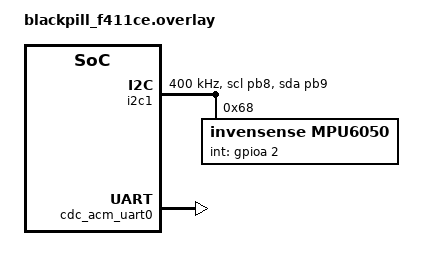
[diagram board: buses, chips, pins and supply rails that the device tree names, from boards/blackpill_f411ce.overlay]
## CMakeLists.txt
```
cmake_minimum_required(VERSION 3.20.0)

find_package(Zephyr REQUIRED HINTS $ENV{ZEPHYR_BASE})
project(edge_ai_gesture)

target_sources(app PRIVATE
	src/main.c
	src/imu.c
	src/capture.c
	src/dfu_boot.c
	model/inference.cc
)

# model_data.h sits at the application root, inference.h in model/
target_include_directories(app PRIVATE
	${CMAKE_SOURCE_DIR}
	${CMAKE_SOURCE_DIR}/model
)
```

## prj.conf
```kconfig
# Sensor stack: MPU6050 over I2C1, data-ready interrupt on PA1
CONFIG_SENSOR=y
CONFIG_MPU6050=y
CONFIG_MPU6050_ACCEL_FS=4
CONFIG_MPU6050_GYRO_FS=1000
CONFIG_MPU6050_TRIGGER_GLOBAL_THREAD=y

# GPIO for KEY button (PA0) and user LED (PC13)
CONFIG_GPIO=y

# FPU for float signal processing
CONFIG_FPU=y

CONFIG_NEWLIB_LIBC=y

# CONFIG_CPP is required by TFLM in phase 3, the cross toolchain g++ is
# now installed (arm-none-eabi-gcc-cs-c++)
CONFIG_CPP=y
CONFIG_STD_CPP17=y
CONFIG_TENSORFLOW_LITE_MICRO=y

# Console over USB CDC ACM for CSV telemetry (/dev/ttyACM0)
CONFIG_CONSOLE=y
CONFIG_PRINTK=y
CONFIG_CBPRINTF_FP_SUPPORT=y
CONFIG_USB_DEVICE_STACK=y
CONFIG_USB_CDC_ACM=y
# start the USB device stack before main, so the host can enumerate CDC
CONFIG_USB_DEVICE_INITIALIZE_AT_BOOT=y

# 10 kHz tick for fine timing granularity (cooldown, debounce)
CONFIG_SYS_CLOCK_TICKS_PER_SEC=10000

CONFIG_MAIN_STACK_SIZE=4096

# Enable or disable SIMD
CONFIG_TENSORFLOW_LITE_MICRO_CMSIS_NN_KERNELS=y
```

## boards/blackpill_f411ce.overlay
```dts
/*
 * Board DTS already routes I2C1 on PB8/PB9, USART1 on PA9/PA10,
 * user LED on PC13 (led0) and KEY button on PA0 (sw0).
 * Declared here: the MPU6050 on I2C1 and the USB CDC ACM console.
 * Note: PA1 is taken by adc1 in the board DTS, so INT goes to PA2.
 */

/ {
	chosen {
		zephyr,console = &cdc_acm_uart0;
	};
};

&i2c1 {
	status = "okay";
	pinctrl-0 = <&i2c1_scl_pb8 &i2c1_sda_pb9>;
    pinctrl-names = "default";
    clock-frequency = <I2C_BITRATE_FAST>; /* 400 kHz */

	mpu6050: mpu6050@68 {
		compatible = "invensense,mpu6050";
		reg = <0x68>;
		/* INT pin wired to PA2, data-ready fires on rising edge */
		int-gpios = <&gpioa 2 (GPIO_ACTIVE_HIGH | GPIO_PULL_DOWN)>;
		status = "okay";
	};
};

&usbotg_fs {
	cdc_acm_uart0: cdc_acm_uart0 {
		compatible = "zephyr,cdc-acm-uart";
	};
};
```

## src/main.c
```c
#include <zephyr/kernel.h>
#include <zephyr/drivers/gpio.h>
#include <zephyr/sys/printk.h>

#include "imu.h"
#include "capture.h"
#include "dfu_boot.h"
#include "inference.h"

#define COOLDOWN_MS 500

/* Automatic gyro-energy trigger: disable it during dataset collection
 * so captures only start on the button or the console command; flip
 * to 1 for threshold calibration and autonomous inference (Phase 3)
 */
#define ENABLE_AUTO_TRIGGER 0

/* Angular kinetic energy trigger, in (rad/s)^2
 * 12.0 is roughly 115 dps on each axis combined, tune after first captures
 */
#define GYRO_ENERGY_THRESHOLD 12.0f

/* Minimum confidence to declare a gesture A recognized (Phase 3 spec) */
#define CONFIDENCE_THRESHOLD 0.8f

/* Which inference kernel set this build runs: the timing lines say
 * which engine produced each number
 */
#ifdef CONFIG_TENSORFLOW_LITE_MICRO_CMSIS_NN_KERNELS
#define KERNEL_TAG "cmsis_nn"
#else
#define KERNEL_TAG "reference"
#endif

enum app_state {
	STATE_IDLE,
	STATE_ACQUIRE,
	STATE_COOLDOWN,
};

static const struct gpio_dt_spec button = GPIO_DT_SPEC_GET(DT_ALIAS(sw0), gpios);
static const struct gpio_dt_spec led = GPIO_DT_SPEC_GET(DT_ALIAS(led0), gpios);

static struct gpio_callback button_cb_data;

K_SEM_DEFINE(button_sem, 0, 1);
K_SEM_DEFINE(sample_sem, 0, 4);

static void button_isr(const struct device *dev, struct gpio_callback *cb,
		       uint32_t pins)
{
	ARG_UNUSED(dev);
	ARG_UNUSED(cb);
	ARG_UNUSED(pins);

	k_sem_give(&button_sem);
}

/* Given by the MPU6050 data-ready interrupt at exactly 100 Hz */
static void data_ready_handler(void)
{
	k_sem_give(&sample_sem);
}

static float gyro_energy(const struct imu_sample *sample)
{
	return sample->gx * sample->gx
	       + sample->gy * sample->gy
	       + sample->gz * sample->gz;
}

static int gpio_setup(void)
{
	int ret;

	if (!device_is_ready(button.port) || !device_is_ready(led.port)) {
		return -ENODEV;
	}

	ret = gpio_pin_configure_dt(&button, GPIO_INPUT);
	if (ret < 0) {
		return ret;
	}

	ret = gpio_pin_interrupt_configure_dt(&button, GPIO_INT_EDGE_TO_ACTIVE);
	if (ret < 0) {
		return ret;
	}

	gpio_init_callback(&button_cb_data, button_isr, BIT(button.pin));
	gpio_add_callback(button.port, &button_cb_data);

	return gpio_pin_configure_dt(&led, GPIO_OUTPUT_INACTIVE);
}

int main(void)
{
	struct imu_sample sample;
	enum app_state state = STATE_IDLE;
	int64_t cooldown_end = 0;
	/* CSV dump on by default (data collection); 'w' on the console
	 * toggles watch mode: detections only, the final-product voice
	 */
	bool csv_logging = true;

	if (imu_init() < 0) {
		printk("MPU6050 not ready\n");
		return 0;
	}

	if (gpio_setup() < 0) {
		printk("GPIO setup failed\n");
		return 0;
	}

	if (imu_start(data_ready_handler) < 0) {
		printk("MPU6050 data-ready trigger failed\n");
		return 0;
	}

	if (inference_init() < 0) {
		printk("TFLM inference init failed\n");
		return 0;
	}

	printk("edge_ai data logger ready [dfu v5], 100 Hz, window %u samples\n",
	       CAPTURE_WINDOW_SIZE);

	while (1) {
		/* Check for the "dfu" console trigger at 100 Hz, the
		 * poll also returns the consumed character
		 */
		int c = dfu_boot_poll();

		/* Space from the console host starts a capture right
		 * away: the settle delay lives host-side in capture.py
		 */
		if (c == ' ') {
			if (state == STATE_IDLE) {
				capture_begin();
				gpio_pin_set_dt(&led, 1);
				state = STATE_ACQUIRE;
				printk("console capture started\n");
			} else {
				printk("console capture busy\n");
			}
		}

		/* 'w' toggles watch mode: with it on the board prints
		 * detections only and stays quiet about the samples
		 */
		if (c == 'w') {
			csv_logging = !csv_logging;
			printk("watch mode %s\n",
			       csv_logging ? "OFF (csv output)" :
					     "ON (detections only)");
		}

		/* 'p' benches the last captured window: five inferences
		 * through the DWT cycle counter, averaged
		 */
		if (c == 'p') {
			uint32_t total = 0;

			for (int i = 0; i < 5; i++) {
				inference_result_t r;

				if (inference_run(
					    (const float (*)[6])
						    capture_window(),
					    &r) != 0) {
					printk("bench: inference failed\n");
					break;
				}
				total += inference_last_cycles();
			}
			printk("bench: %u cycles avg over 5 runs (%u us) [%s]\n",
			       (unsigned)(total / 5U),
			       (unsigned)(total / 5U / 96U),
			       KERNEL_TAG);
		}

		/* Wait only for DRDY INT */
		if (k_sem_take(&sample_sem, K_MSEC(15)) != 0) {
			continue;
		}

		if (imu_read(&sample) < 0) {
			continue;
		}

		switch (state) {
		case STATE_IDLE:
			capture_prebuffer_push(&sample);
			if (k_sem_take(&button_sem, K_NO_WAIT) == 0
			    || (ENABLE_AUTO_TRIGGER &&
				gyro_energy(&sample) > GYRO_ENERGY_THRESHOLD)) {
				capture_begin();
				gpio_pin_set_dt(&led, 1);
				state = STATE_ACQUIRE;
				printk("capture started\n");
			}
			break;

		case STATE_ACQUIRE:
			if (capture_feed(&sample)) {
				inference_result_t res;
				int ret = inference_run(
					(const float (*)[6])capture_window(),
					&res);

				if (ret == 0) {
					if (res.predicted_class == 0 &&
					    res.prob_A >=
						    CONFIDENCE_THRESHOLD) {
						printk(">>> GESTURE A detected (confidence %.2f) <<<\n",
						       (double)res.prob_A);
					} else {
						printk(">>> GESTURE IDLE detected (confidence %.2f) <<<\n",
						       (double)res.prob_IDLE);	
					}					

					printk("inference: %u cycles (%u us) [%s]\n",
					       (unsigned)inference_last_cycles(),
					       (unsigned)(inference_last_cycles() / 96U),
					       KERNEL_TAG);
				} else {
					printk("inference failed: %d\n", ret);
				}

				gpio_pin_set_dt(&led, 0);

				if (csv_logging) {
					capture_dump_csv();
				}
				/* Drop ticks missed during the blocking dump */
				k_sem_reset(&sample_sem);
				cooldown_end = k_uptime_get() + COOLDOWN_MS;
				state = STATE_COOLDOWN;
			}
			break;

		case STATE_COOLDOWN:
			if (k_uptime_get() >= cooldown_end) {
				/* Purge button presses swallowed during capture and cooldown */
				k_sem_reset(&button_sem); 
				state = STATE_IDLE;
			}
			break;
		}
	}

	return 0;
}
```

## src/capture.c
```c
#include <zephyr/sys/printk.h>

#include "capture.h"

/* Circular pre-buffer preserving the gesture attack while in IDLE */
static struct imu_sample prebuffer[CAPTURE_PREBUFFER_SIZE];
static unsigned int prebuffer_head; /* next write position */
static unsigned int prebuffer_count; /* valid samples, capped at CAPTURE_PREBUFFER_SIZE */

/* Acquisition window, pre-filled with the pre-buffer then completed live */
static struct imu_sample window[CAPTURE_WINDOW_SIZE];
static unsigned int window_pos;

void capture_prebuffer_push(const struct imu_sample *sample)
{
	prebuffer[prebuffer_head] = *sample;
	prebuffer_head = (prebuffer_head + 1) % CAPTURE_PREBUFFER_SIZE;
	if (prebuffer_count < CAPTURE_PREBUFFER_SIZE) {
		prebuffer_count++;
	}
}

void capture_begin(void)
{
	unsigned int oldest = (prebuffer_head + CAPTURE_PREBUFFER_SIZE - prebuffer_count)
			      % CAPTURE_PREBUFFER_SIZE;

	for (unsigned int i = 0; i < prebuffer_count; i++) {
		window[i] = prebuffer[(oldest + i) % CAPTURE_PREBUFFER_SIZE];
	}
	window_pos = prebuffer_count;
}

bool capture_feed(const struct imu_sample *sample)
{
	if (window_pos >= CAPTURE_WINDOW_SIZE) {
		return true;
	}

	window[window_pos++] = *sample;

	return window_pos >= CAPTURE_WINDOW_SIZE;
}

const struct imu_sample *capture_window(void)
{
	return window;
}

void capture_dump_csv(void)
{
	printk("BEGIN\n");
	for (unsigned int i = 0; i < CAPTURE_WINDOW_SIZE; i++) {
		printk("%.6f,%.6f,%.6f,%.6f,%.6f,%.6f\n",
		       (double)window[i].ax, (double)window[i].ay,
		       (double)window[i].az, (double)window[i].gx,
		       (double)window[i].gy, (double)window[i].gz);
	}
	printk("END\n");
}
```

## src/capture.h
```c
#ifndef EDGE_AI_CAPTURE_H
#define EDGE_AI_CAPTURE_H

#include <stdbool.h>

#include "imu.h"

#define CAPTURE_WINDOW_SIZE    256
#define CAPTURE_PREBUFFER_SIZE 16

/* Pushes a sample into the circular pre-buffer, to be called in IDLE state
 * Keeps the last CAPTURE_PREBUFFER_SIZE samples to preserve gesture attack
 */
void capture_prebuffer_push(const struct imu_sample *sample);

/* Copies the pre-buffer content at the head of the capture window
 * Must be called when the trigger fires, before feeding new samples
 */
void capture_begin(void);

/* Returns the internal capture window, layout-compatible with
 * float[CAPTURE_WINDOW_SIZE][6] in the ax,ay,az,gx,gy,gz order
 */
const struct imu_sample *capture_window(void);

/* Appends one sample to the capture window
 * Returns true when the window is full (CAPTURE_WINDOW_SIZE samples)
 */
bool capture_feed(const struct imu_sample *sample);

/* Dumps the full window as CSV over the console, framed by BEGIN/END markers
 * Line format: ax,ay,az,gx,gy,gz
 */
void capture_dump_csv(void);

#endif /* EDGE_AI_CAPTURE_H */
```

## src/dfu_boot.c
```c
#include <zephyr/kernel.h>
#include <zephyr/sys/printk.h>
#include <zephyr/drivers/uart.h>
#include <cmsis_core.h>

#include "dfu_boot.h"

/* STM32F4 system memory base, holds the DFU-capable ROM bootloader
 * (RM0383). Its USB device enumerates as 0483:DF11, the identity the
 * dfu-util runner of "west flash" expects
 */
#ifndef DFU_BOOT_SYSMEM_BASE
#define DFU_BOOT_SYSMEM_BASE 0x1FFF0000UL
#endif

/* The trigger sequence is read from the chosen console port */
#if DT_NODE_EXISTS(DT_CHOSEN(zephyr_console))
static const struct device *const dfu_console =
	DEVICE_DT_GET(DT_CHOSEN(zephyr_console));
#define DFU_BOOT_HAS_CONSOLE 1
#else
#define DFU_BOOT_HAS_CONSOLE 0
#endif

/* Hand the Cortex-M over to the ROM bootloader with a warm handover
 * from the running application: soft-disconnect USB, give the clock
 * tree back to its reset state, stop SysTick, disarm every NVIC
 * source, then remap the vector table, swap the stack pointer and
 * jump to the bootloader reset entry. Never returns
 */
static void dfu_boot_jump(void)
{
	/* Soft-disconnect USB first, so the host registers the detach
	 * before the ROM tries to re-attach
	 */
	USB_OTG_DeviceTypeDef *dev =
		(USB_OTG_DeviceTypeDef *)((uint32_t)USB_OTG_FS +
					  USB_OTG_DEVICE_BASE);

	dev->DCTL |= USB_OTG_DCTL_SDIS;
	k_msleep(300);

	/* Clocks back to HSI: the OTG peripheral loses its clock and
	 * releases D+ with it (a second detach the host also sees),
	 * and the ROM assumes HSI as SYSCLK (RM0383 clock rules)
	 */
	RCC->CR |= RCC_CR_HSION;
	while ((RCC->CR & RCC_CR_HSIRDY) == 0U) {
	}
	RCC->CFGR = (RCC->CFGR & ~RCC_CFGR_SW) | RCC_CFGR_SW_HSI;
	while ((RCC->CFGR & RCC_CFGR_SWS) != RCC_CFGR_SWS_HSI) {
	}
	RCC->CR &= ~(RCC_CR_PLLON | RCC_CR_PLLI2SON | RCC_CR_HSEON);

	/* Stop SysTick and clear system-exception pending bits: a tick
	 * firing in the middle of the bootloader's USB bring-up would
	 * hijack the CPU away from its interrupt-driven DFU stack
	 */
	SysTick->CTRL = 0U;
	SysTick->LOAD = 0U;
	SysTick->VAL = 0U;
	SCB->ICSR = SCB_ICSR_PENDSTCLR_Msk | SCB_ICSR_PENDSVCLR_Msk;

	/* Disable the MPU and clear the reset-cause flags: machine
	 * state a physical entry never carries
	 */
	MPU->CTRL = 0U;
	RCC->CSR |= RCC_CSR_RMVF;

	/* Disarm every NVIC source and clear pending flags (nothing is
	 * enabled right after a system reset, this is belt and braces)
	 */
	for (uint8_t i = 0; i < sizeof(NVIC->ICER) / sizeof(NVIC->ICER[0]);
	     ++i) {
		NVIC->ICER[i] = 0xFFFFFFFFU;
		NVIC->ICPR[i] = 0xFFFFFFFFU;
	}

	/* Do NOT set PRIMASK: it survives the jump, the ROM never
	 * unmasks it and its DFU USB stack is interrupt-driven (it
	 * attaches but never answers). Reset CONTROL (clears the FPU
	 * context bit) and synchronize before handing over
	 */
	__set_CONTROL(0U);
	SCB->VTOR = DFU_BOOT_SYSMEM_BASE;
	__DSB();
	__ISB();
	__set_MSP(*(uint32_t *)DFU_BOOT_SYSMEM_BASE);
	((void (*)(void))(*(uint32_t *)(DFU_BOOT_SYSMEM_BASE + 4U)))();

	for (;;) {
	}
}

void dfu_boot_enter(void)
{
	printk("dfu: jumping into ROM bootloader, goodbye\n");

	/* Let the farewell line drain over USB before the detach */
	k_msleep(50);

	dfu_boot_jump();
}

int dfu_boot_poll(void)
{
#if DFU_BOOT_HAS_CONSOLE
	static const size_t trigger_len = sizeof(DFU_BOOT_TRIGGER) - 1;
	static size_t match;
	unsigned char c;

	if (uart_poll_in(dfu_console, &c) != 0) {
		return -1;
	}

#if DFU_BOOT_ECHO
	/* Echo so the operator sees the console is alive while typing */
	if (c == '\r') {
		printk("\r\n");
	} else {
		printk("%c", c);
	}
#endif

	if (c == DFU_BOOT_TRIGGER[match]) {
		match++;
		if (match == trigger_len) {
			dfu_boot_enter();
		}
	} else {
		/* A mismatch may still start a new sequence */
		match = (c == DFU_BOOT_TRIGGER[0]) ? 1 : 0;
	}

	return (int)c;
#else
	return -1;
#endif
}
```

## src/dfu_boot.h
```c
/*
 * Reusable "jump to ROM DFU bootloader" helper for STM32F4 targets
 *
 * Add dfu_boot.c to the build and call dfu_boot_poll() from a
 * periodic loop. When the trigger sequence is typed on the chosen
 * console port (tio works well for that), the module hands the
 * Cortex-M over to the ROM bootloader with a warm handover: USB is
 * soft-disconnected, the clock tree is restored to its reset state,
 * SysTick is stopped and every NVIC source is disarmed, then the
 * vector table, stack pointer and control register are swapped over
 * to the system memory. The ROM re-enumerates as VID 0483 / PID
 * DF11 and the board can be reflashed with "west flash" (dfu-util
 * runner) without any button press
 *
 * Integration:
 *   #include "dfu_boot.h"
 *   while (1) {
 *       (void)dfu_boot_poll();
 *       ...
 *   }
 */
#ifndef DFU_BOOT_H
#define DFU_BOOT_H

/* Console sequence that triggers the jump */
#ifndef DFU_BOOT_TRIGGER
#define DFU_BOOT_TRIGGER "dfu"
#endif

/* Echo each received character back on the console (debug aid) */
#ifndef DFU_BOOT_ECHO
#define DFU_BOOT_ECHO 1
#endif

/*
 * Poll the chosen console for the trigger sequence, non-blocking,
 * call from a periodic loop. Enters the ROM bootloader (never
 * returns) as soon as the sequence completes. Returns the consumed
 * character so the application can implement its own console
 * commands, or -1 when no character was pending
 */
int dfu_boot_poll(void);

/* Hand the chip over to the ROM system bootloader, never returns */
void dfu_boot_enter(void);

#endif /* DFU_BOOT_H */
```

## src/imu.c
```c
#include <zephyr/device.h>
#include <zephyr/drivers/i2c.h>
#include <zephyr/drivers/sensor.h>
#include <errno.h>

#include "imu.h"

/* MPU6050 registers not exposed by the Zephyr driver */
#define MPU6050_REG_SMPLRT_DIV 0x19
#define MPU6050_REG_CONFIG     0x1A

/* DLPF_CFG = 3: ~44 Hz bandwidth, gyro output rate drops to 1 kHz */
#define MPU6050_DLPF_CFG 3

/* Sample rate = 1 kHz / (1 + 9) = exactly 100 Hz */
#define MPU6050_SMPLRT_DIV 9

static const struct device *const mpu6050 = DEVICE_DT_GET(DT_NODELABEL(mpu6050));
static const struct i2c_dt_spec mpu6050_i2c = I2C_DT_SPEC_GET(DT_NODELABEL(mpu6050));

static imu_ready_cb_t app_cb;

static struct sensor_trigger data_ready_trigger = {
	.type = SENSOR_TRIG_DATA_READY,
	.chan = SENSOR_CHAN_ALL,
};

static void data_ready_trampoline(const struct device *dev,
				  const struct sensor_trigger *trig)
{
	ARG_UNUSED(dev);
	ARG_UNUSED(trig);

	if (app_cb != NULL) {
		app_cb();
	}
}

int imu_init(void)
{
	int ret;

	if (!device_is_ready(mpu6050)) {
		return -ENODEV;
	}

	/* The driver leaves SMPLRT_DIV and DLPF at reset values, which would
	 * pulse INT at 8 kHz unfiltered. Program the 100 Hz cadence here
	 */
	ret = i2c_reg_write_byte_dt(&mpu6050_i2c, MPU6050_REG_CONFIG,
				    MPU6050_DLPF_CFG);
	if (ret < 0) {
		return ret;
	}

	return i2c_reg_write_byte_dt(&mpu6050_i2c, MPU6050_REG_SMPLRT_DIV,
				     MPU6050_SMPLRT_DIV);
}

int imu_read(struct imu_sample *sample)
{
	struct sensor_value accel[3];
	struct sensor_value gyro[3];
	int ret;

	ret = sensor_sample_fetch(mpu6050);
	if (ret < 0) {
		return ret;
	}

	ret = sensor_channel_get(mpu6050, SENSOR_CHAN_ACCEL_XYZ, accel);
	if (ret < 0) {
		return ret;
	}

	ret = sensor_channel_get(mpu6050, SENSOR_CHAN_GYRO_XYZ, gyro);
	if (ret < 0) {
		return ret;
	}

	sample->ax = sensor_value_to_float(&accel[0]);
	sample->ay = sensor_value_to_float(&accel[1]);
	sample->az = sensor_value_to_float(&accel[2]);
	sample->gx = sensor_value_to_float(&gyro[0]);
	sample->gy = sensor_value_to_float(&gyro[1]);
	sample->gz = sensor_value_to_float(&gyro[2]);

	return 0;
}

int imu_start(imu_ready_cb_t cb)
{
	app_cb = cb;

	return sensor_trigger_set(mpu6050, &data_ready_trigger,
				  data_ready_trampoline);
}
```

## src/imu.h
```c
#ifndef EDGE_AI_IMU_H
#define EDGE_AI_IMU_H

/* One 6-axis IMU sample in physical units
 * Acceleration in m/s^2, angular rate in rad/s
 */
struct imu_sample {
	float ax;
	float ay;
	float az;
	float gx;
	float gy;
	float gz;
};

/* Checks that the MPU6050 device is ready and programs the sample rate
 * to exactly 100 Hz (DLPF enabled, 1 kHz gyro output divided by 10)
 * Returns 0 on success, negative errno otherwise
 */
int imu_init(void);

/* Fetches one sample from the sensor and converts it to physical units
 * Returns 0 on success, negative errno otherwise
 */
int imu_read(struct imu_sample *sample);

/* Application callback invoked on each data-ready interrupt
 * Called from the system workqueue, must stay short (give a semaphore)
 */
typedef void (*imu_ready_cb_t)(void);

/* Registers the data-ready callback and starts interrupt-driven sampling
 * Returns 0 on success, negative errno otherwise
 */
int imu_start(imu_ready_cb_t cb);

#endif /* EDGE_AI_IMU_H */
```
